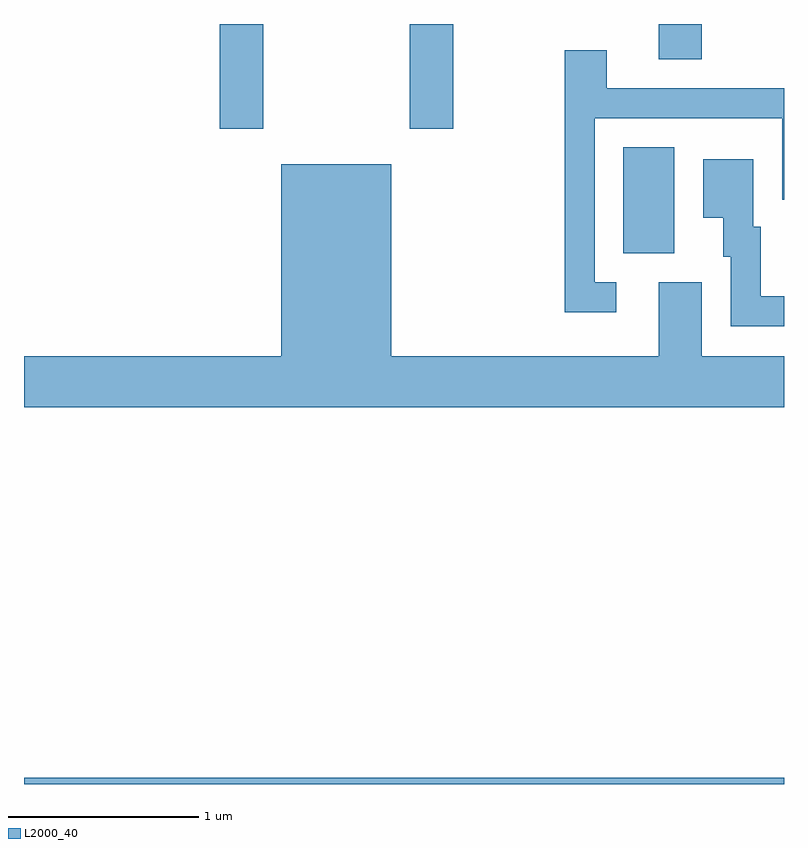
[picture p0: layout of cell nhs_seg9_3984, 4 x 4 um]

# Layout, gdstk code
import gdstk
lib = gdstk.Library(unit=1e-6, precision=1e-09)
def R(c, l, rs):  # rectangles x0, y0, x1, y1
    for r in rs: c.add(gdstk.rectangle(r[:2], r[2:], *l))
def P(c, l, *ps):  # polygons
    for p in ps: c.add(gdstk.Polygon(p, *l))
L2000_40 = (2000, 40)

nhs_seg9_3984 = lib.new_cell('nhs_seg9_3984')
R(nhs_seg9_3984, L2000_40, [(301.611,2056.432,305.611,2056.464), (304.766,2059.226,305.034,2059.784), (302.641,2059.881,302.869,2060.432), (303.641,2059.881,303.869,2060.432), (304.951,2060.246,305.179,2060.432)])
P(nhs_seg9_3984, L2000_40, [(304.728,2059.074),(304.614,2059.074),(304.614,2059.936),(305.601,2059.936),(305.601,2059.508),(305.611,2059.508),(305.611,2060.094),(304.679,2060.094),(304.679,2060.294),(304.456,2060.294),(304.456,2058.916),(304.728,2058.916)],
  [(305.611,2058.999),(305.489,2058.999),(305.489,2059.364),(305.449,2059.364),(305.449,2059.719),(305.186,2059.719),(305.186,2059.411),(305.291,2059.411),(305.291,2059.206),(305.331,2059.206),(305.331,2058.841),(305.611,2058.841)],
  [(305.611,2058.684),(305.179,2058.684),(305.179,2059.074),(304.951,2059.074),(304.951,2058.684),(303.544,2058.684),(303.544,2059.694),(302.966,2059.694),(302.966,2058.684),(301.611,2058.684),(301.611,2058.416),(305.611,2058.416)])

lib.write_gds('nhs_seg9_3984.gds')
